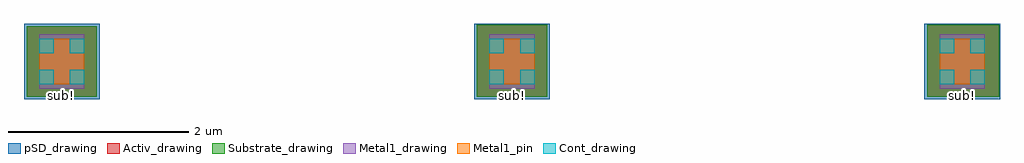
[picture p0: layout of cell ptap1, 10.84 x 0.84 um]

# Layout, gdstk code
import gdstk
lib = gdstk.Library(unit=1e-6, precision=1e-09)
def R(c, l, rs):  # rectangles x0, y0, x1, y1
    for r in rs: c.add(gdstk.rectangle(r[:2], r[2:], *l))
def A(c, l, x, y, w, h, nx, ny, dx, dy):  # array of equal rectangles
    R(c, l, [(x+i*dx, y+j*dy, x+i*dx+w, y+j*dy+h) for i in range(nx) for j in range(ny)])
Activ_drawing = (1, 0)
Cont_drawing = (6, 0)
Metal1_drawing = (8, 0)
Metal1_pin = (8, 2)
pSD_drawing = (14, 0)
Substrate_drawing = (40, 0)

ptap1 = lib.new_cell('ptap1')
R(ptap1, Activ_drawing, [(0,0,0.78,0.78), (5,0,5.78,0.8), (10,0,10.8,0.8)])
R(ptap1, Cont_drawing, [(0.14,0.14,0.3,0.3), (0.48,0.14,0.64,0.3), (5.14,0.14,5.3,0.3), (5.48,0.14,5.64,0.3), (10.14,0.14,10.3,0.3), (10.48,0.14,10.64,0.3), (0.14,0.48,0.3,0.64), (0.48,0.48,0.64,0.64), (5.14,0.48,5.3,0.64), (5.48,0.48,5.64,0.64), (10.14,0.48,10.3,0.64), (10.48,0.48,10.64,0.64)])
A(ptap1, Metal1_drawing, 0.14, 0.09, 0.5, 0.6, 3, 1, 5, 0)
A(ptap1, Metal1_pin, 0.14, 0.14, 0.5, 0.5, 3, 1, 5, 0)
A(ptap1, pSD_drawing, -0.03, -0.03, 0.84, 0.84, 3, 1, 5, 0)
R(ptap1, Substrate_drawing, [(0,0,0.78,0.78), (5,0,5.78,0.8), (10,0,10.8,0.8)])
ptap1.add(gdstk.Label('sub!', (10.39,0.01), layer=63, texttype=0))
ptap1.add(gdstk.Label('sub!', (5.39,0.01), layer=63, texttype=0))
ptap1.add(gdstk.Label('sub!', (0.39,0.01), layer=63, texttype=0))

lib.write_gds('ptap1.gds')
